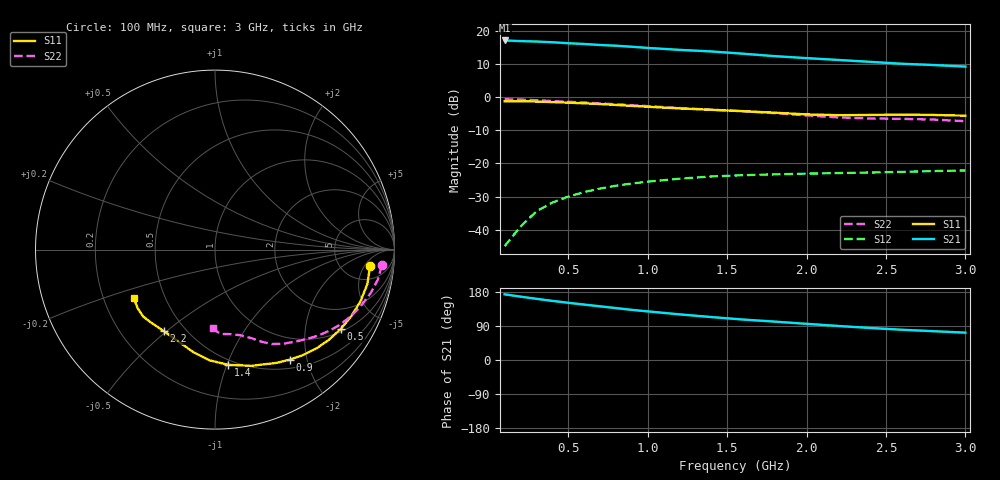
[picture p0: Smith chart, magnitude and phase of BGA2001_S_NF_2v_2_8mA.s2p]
! Title: BGA2001
! Bias: Vce=2V; Ic=2.8mA controlled / noise data included
! Company: Philips Semiconductors NL
! User: Quality&Reliability T&D
! Measure time: 23 Oct 1998 / 08:33:35
#  MHz  S  MA  R 50
! Freq  S11  S21  S12  S22  :
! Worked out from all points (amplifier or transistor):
!   20 points, 100 MHz to 3 GHz, reference 50 ohm
!   highest |S21| = 17.2 dB at 100 MHz (marker M1)
!   |S21| within 3 dB of that: start of sweep to 1.267 GHz
!   unconditionally stable (mu >= 1): 2.544 GHz to end of sweep
!   at 400 MHz: K = 0.18, MSG = 24.2 dB, |S12| = -31.8 dB
!   at 1.2 GHz: K = 0.44, MSG = 19.5 dB, |S12| = -24.6 dB
!   at 3 GHz: K = 1.17, MAG = 13.2 dB, |S12| = -22.1 dB
!   lowest NFmin = 1.13 dB at 1.8 GHz
!   S11 on the Smith chart (normalised r, x): 100 MHz: 9, -7; 500 MHz: 1.10, -3.11; 900 MHz: 0.63, -1.71; 1.4 GHz: 0.46, -1.01; 2.2 GHz: 0.38, -0.49; 3 GHz: 0.33, -0.25
100  0.8686 -6.2  7.208 173.3  0.005642 59.8  0.934 -5.4
200  0.8704 -12.6  7.05 167.3  0.01113 81.8  0.9221 -10.5
300  0.8605 -19.4  6.942 161.4  0.01894 79.8  0.9015 -15.5
400  0.8452 -26.0  6.774 156.0  0.02566 75.3  0.8768 -19.9
500  0.8287 -32.2  6.544 151.0  0.03155 71.5  0.8554 -24.0
600  0.8095 -38.3  6.375 146.2  0.03696 67.9  0.8313 -27.9
700  0.7895 -44.1  6.156 141.6  0.04176 64.6  0.8084 -31.5
800  0.7654 -50.1  6.007 137.0  0.04612 61.5  0.7839 -35.0
900  0.7416 -55.8  5.791 132.4  0.04979 58.7  0.759 -38.3
1000  0.7188 -61.4  5.561 128.3  0.05313 56.3  0.7344 -41.6
1200  0.6785 -72.7  5.198 120.5  0.05888 52.0  0.6873 -47.9
1400  0.6463 -83.5  4.919 113.3  0.06366 48.4  0.6493 -53.8
1600  0.6173 -92.9  4.549 106.8  0.06663 46.1  0.6146 -58.9
1800  0.5846 -101.8  4.176 101.3  0.0685 45.1  0.5761 -63.1
2000  0.5517 -111.5  3.9 95.4  0.07025 43.3  0.5323 -67.8
2200  0.5364 -121.9  3.659 89.8  0.0717 41.7  0.4963 -73.8
2400  0.5403 -130.7  3.426 84.5  0.07307 41.2  0.4776 -80.2
2600  0.5473 -137.2  3.207 79.9  0.07463 42.3  0.4721 -85.1
2800  0.5404 -142.9  3.067 76.0  0.07688 42.4  0.4603 -88.2
3000  0.5273 -149.3  2.906 72.1  0.07847 43.2  0.4349 -91.5
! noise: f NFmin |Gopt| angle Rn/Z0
900  1.19  0.43  19  0.33
1000  1.22  0.42  18  0.32
1800  1.134  0.398  62.94  0.265
2000  1.181  0.359  74.05  0.262
2200  1.384  0.299  83.76  0.228
2400  1.525  0.289  94.61  0.217
